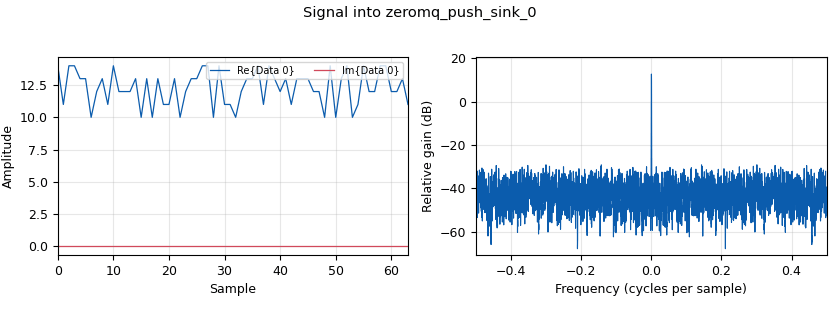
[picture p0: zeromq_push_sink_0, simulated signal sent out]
options:
  parameters:
    author: usacys
    generate_options: qt_gui
    id: zmq_basic_data_gen_GRCGEN
    output_language: python
    title: Not titled yet
  states: {}

blocks:
- name: samp_rate
  id: variable
  parameters:
    value: '32000'
  states: {}
- name: analog_random_source_x_0
  id: analog_random_source_x
  parameters:
    max: '15'
    min: '10'
    num_samps: '1000'
    repeat: 'True'
    type: byte
  states: {}
- name: blocks_float_to_complex_0
  id: blocks_float_to_complex
  parameters: {}
  states: {}
- name: blocks_throttle_0
  id: blocks_throttle
  parameters:
    samples_per_second: samp_rate
    type: byte
  states: {}
- name: blocks_uchar_to_float_0
  id: blocks_uchar_to_float
  parameters: {}
  states: {}
- name: zeromq_push_sink_0
  id: zeromq_push_sink
  parameters:
    address: tcp://127.0.0.1:50252
    timeout: '100'
    type: complex
  states: {}

connections:
- [analog_random_source_x_0, '0', blocks_throttle_0, '0']
- [blocks_float_to_complex_0, '0', zeromq_push_sink_0, '0']
- [blocks_throttle_0, '0', blocks_uchar_to_float_0, '0']
- [blocks_uchar_to_float_0, '0', blocks_float_to_complex_0, '0']

metadata:
  file_format: 1
